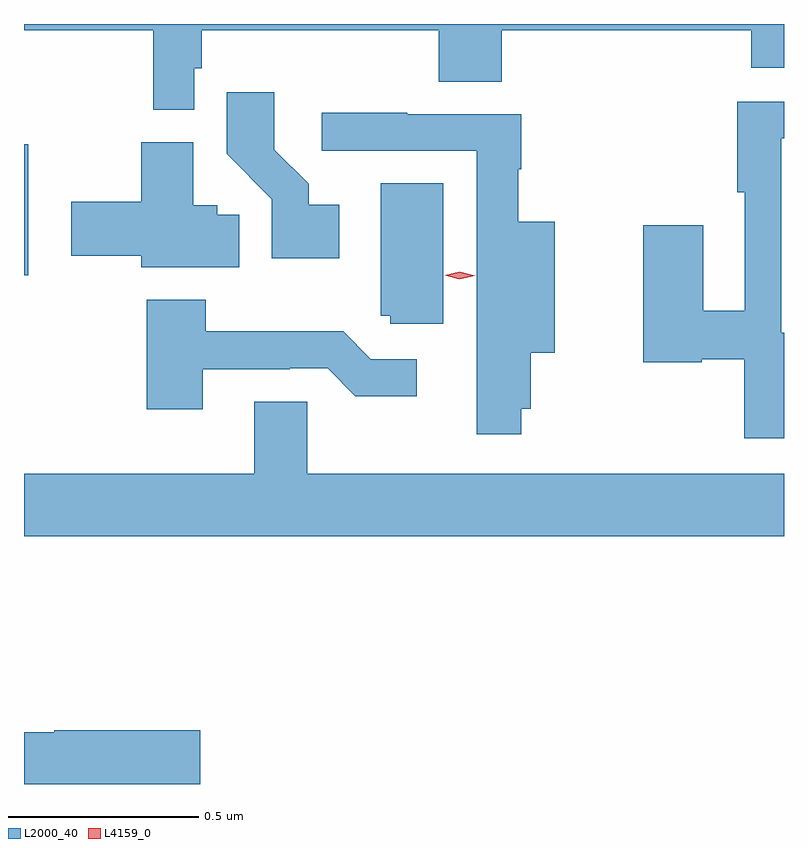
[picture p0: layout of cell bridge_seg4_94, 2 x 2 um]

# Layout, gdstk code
import gdstk
lib = gdstk.Library(unit=1e-6, precision=1e-09)
def R(c, l, rs):  # rectangles x0, y0, x1, y1
    for r in rs: c.add(gdstk.rectangle(r[:2], r[2:], *l))
def P(c, l, *ps):  # polygons
    for p in ps: c.add(gdstk.Polygon(p, *l))
L2000_40 = (2000, 40)
L4159_0 = (4159, 0)

bridge_seg4_94 = lib.new_cell('bridge_seg4_94')
R(bridge_seg4_94, L2000_40, [(437.219,789.515,437.23,789.859)])
P(bridge_seg4_94, L2000_40, [(438.311,790.024),(438.476,790.024),(438.476,790.16),(439.133,790.16),(439.133,790.061),(439.219,790.061),(439.219,790.176),(437.219,790.176),(437.219,790.16),(437.559,790.16),(437.559,789.95),(437.667,789.95),(437.667,790.059),(437.687,790.059),(437.687,790.16),(438.311,790.16)],
  [(438.049,789.7),(437.968,789.7),(437.968,789.755),(437.878,789.845),(437.878,789.997),(437.752,789.997),(437.752,789.834),(437.871,789.715),(437.871,789.56),(438.049,789.56)],
  [(439.219,789.364),(439.212,789.364),(439.212,789.876),(439.219,789.876),(439.219,789.972),(439.096,789.972),(439.096,789.733),(439.116,789.733),(439.116,789.422),(439.006,789.422),(439.006,789.646),(438.848,789.646),(438.848,789.286),(439.002,789.286),(439.002,789.294),(439.115,789.294),(439.115,789.086),(439.219,789.086)],
  [(438.527,789.164),(438.552,789.164),(438.552,789.311),(438.616,789.311),(438.616,789.655),(438.52,789.655),(438.52,789.794),(438.527,789.794),(438.527,789.939),(438.227,789.939),(438.227,789.942),(438.003,789.942),(438.003,789.843),(438.411,789.843),(438.411,789.096),(438.527,789.096)],
  [(437.786,789.674),(437.727,789.674),(437.727,789.699),(437.665,789.699),(437.665,789.865),(437.528,789.865),(437.528,789.708),(437.343,789.708),(437.343,789.566),(437.528,789.566),(437.528,789.536),(437.786,789.536)],
  [(438.322,789.757),(438.158,789.757),(438.158,789.408),(438.183,789.408),(438.183,789.387),(438.322,789.387)],
  [(437.689,789.267),(437.918,789.267),(437.918,789.27),(438.018,789.27),(438.091,789.197),(438.253,789.197),(438.253,789.294),(438.132,789.294),(438.059,789.367),(437.697,789.367),(437.697,789.451),(437.542,789.451),(437.542,789.162),(437.689,789.162)],
  [(439.219,788.992),(437.964,788.992),(437.964,789.182),(437.825,789.182),(437.825,788.992),(437.219,788.992),(437.219,788.828),(439.219,788.828)],
  [(437.683,788.318),(437.298,788.318),(437.298,788.312),(437.219,788.312),(437.219,788.176),(437.683,788.176)])
P(bridge_seg4_94, L4159_0, [(438.365,789.504),(438.326,789.515),(438.326,789.515),(438.326,789.515),(438.366,789.524),(438.406,789.514),(438.406,789.514),(438.406,789.513)])

lib.write_gds('bridge_seg4_94.gds')
